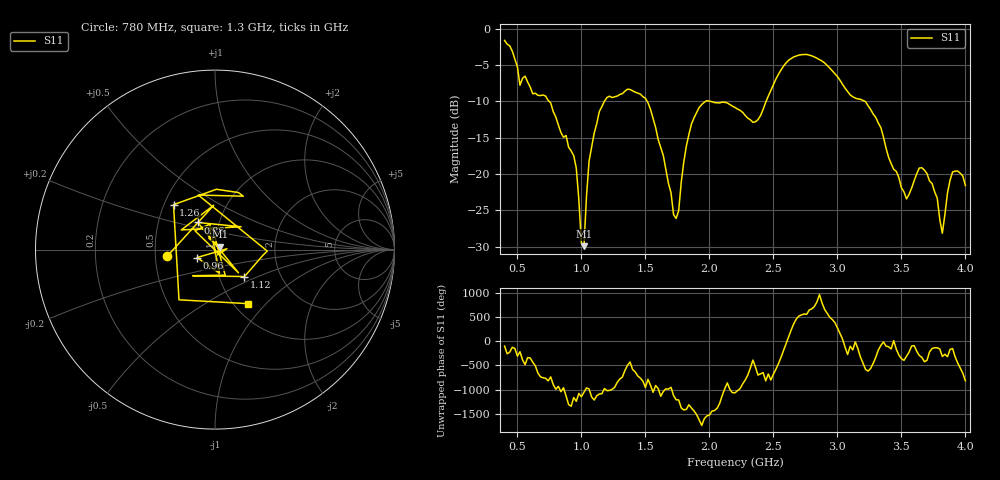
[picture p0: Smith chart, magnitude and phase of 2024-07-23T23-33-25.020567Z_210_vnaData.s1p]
!Created with skrf (http://scikit-rf.org).
# Hz S RI R 50.0
!freq ReS11 ImS11
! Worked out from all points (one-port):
!   181 points, 400 MHz to 4 GHz, reference 50 ohm
!   lowest |S11| = -29.9 dB at 1.02 GHz (marker M1), VSWR 1.07, Z = 52.8 + j1.69 ohm
!   |S11| at or under -10 dB: 1.514 GHz to 1.97 GHz (456 MHz wide, 26.2 % of centre); 2.012 GHz to 2.443 GHz (431 MHz wide, 19.4 % of centre); 3.217 GHz to end of sweep (the widest 3 of 4)
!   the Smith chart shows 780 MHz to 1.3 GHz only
!   S11 on the Smith chart (normalised r, x): 780 MHz: 0.58, -0.05; 860 MHz: 0.79, +0.25; 960 MHz: 0.81, -0.07; 1.12 GHz: 1.32, -0.42; 1.26 GHz: 0.56, +0.32; 1.3 GHz: 1.16, -0.80
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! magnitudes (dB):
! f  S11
! 400 MHz  -1.6
! 520 MHz  -7.8
! 780 MHz  -11.4
! 860 MHz  -14.9
! 960 MHz  -19.2
! 1 GHz  -29.6
! 1.02 GHz  -29.9
! 1.06 GHz  -18.2
! 1.12 GHz  -13.1
! 1.26 GHz  -9.4
! 1.3 GHz  -9.0
! 1.52 GHz  -10.2
! 1.72 GHz  -25.6
! 1.76 GHz  -25.1
! 1.82 GHz  -16.1
! 1.92 GHz  -10.8
! 2.2 GHz  -10.8
! 2.36 GHz  -12.8
! 2.66 GHz  -3.9
! 2.88 GHz  -4.4
! 3.1 GHz  -9.1
! 3.3 GHz  -12.2
! 3.56 GHz  -22.8
! 3.68 GHz  -19.5
! 3.78 GHz  -23.3
! 3.82 GHz  -28.2
! 3.9 GHz  -19.7
! 4 GHz  -21.6
